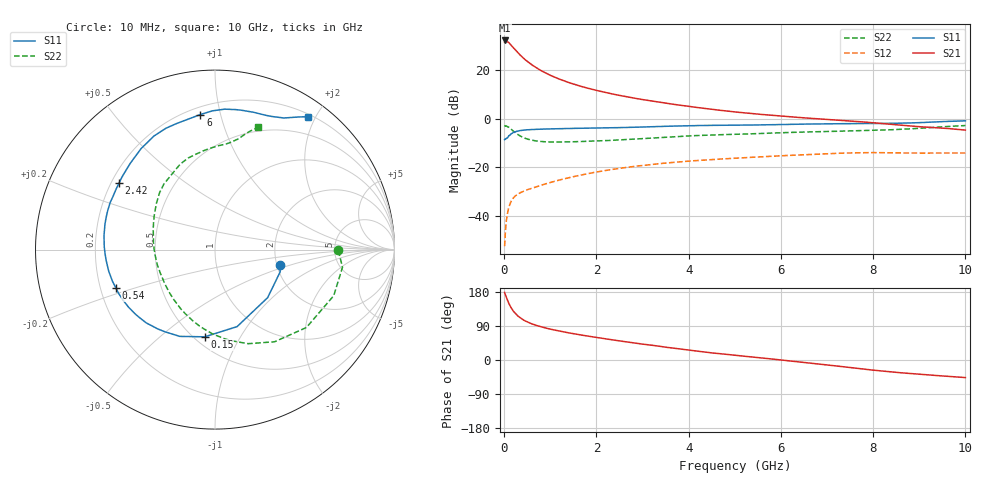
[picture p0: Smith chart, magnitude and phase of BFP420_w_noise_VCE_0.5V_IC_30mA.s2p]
! Infineon Technologies  Discrete & RF Semiconductors
! BFP420
! VCE =  0.5 V,  IC =  30 mA
! Common Emitter S-Parameters:  Jan 2016
# GHz  S  MA  R  50
!  f  S11  S21  S12  S22
! GHz  MAG  ANG  MAG  ANG  MAG  ANG  MAG  ANG
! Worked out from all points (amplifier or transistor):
!   233 points, 10 MHz to 10 GHz, reference 50 ohm
!   highest |S21| = 32.1 dB at 20 MHz (marker M1)
!   |S21| within 3 dB of that: start of sweep to 201.3 MHz
!   unconditionally stable (mu >= 1): start of sweep to 30.67 MHz; 1.082 GHz to end of sweep
!   at 200 MHz: K = 0.42, MSG = 30.9 dB, |S12| = -32.6 dB
!   at 1.74 GHz: K = 1.14, MAG = 15.6 dB, |S12| = -22.9 dB
!   at 10 GHz: K = 1.05, MAG = 3.4 dB, |S12| = -14.1 dB
!   lowest NFmin = 1.51 dB at 900 MHz
!   S11 on the Smith chart (normalised r, x): 10 MHz: 2.07, -0.41; 150 MHz: 0.56, -0.72; 540 MHz: 0.26, -0.18; 2.42 GHz: 0.23, +0.30; 6 GHz: 0.25, +0.87; 10 GHz: 0.24, +1.89
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0.01  0.3704 -13.2  37.24 178.2  0.0024 96.1  0.6873 -0.4
0.02  0.3838 -18.9  40.38 174.1  0.0036 87.8  0.7171 -7.9
0.05  0.3972 -42.4  39.49 164.2  0.0083 79.1  0.7096 -21.2
0.1  0.4463 -74.0  36.6 149.6  0.015 68.0  0.6693 -40.4
0.15  0.4893 -96.7  32.36 137.8  0.0199 60.4  0.6115 -57.1
0.2  0.5218 -112.1  28.69 128.8  0.0235 55.0  0.5558 -70.6
0.22  0.5274 -116.9  27.27 126.1  0.0246 53.5  0.5345 -74.9
0.26  0.545 -125.8  24.69 120.5  0.0266 50.9  0.5 -83.8
0.3  0.5599 -133.2  22.41 115.7  0.0283 49.0  0.4703 -91.6
0.4  0.5787 -146.3  18.14 106.9  0.0316 46.6  0.416 -107.2
0.54  0.5921 -158.6  14.11 98.6  0.0357 45.9  0.3724 -123.4
0.7  0.6041 -168.4  11.03 91.2  0.0401 46.3  0.348 -137.6
1  0.617 179.0  7.778 81.4  0.0488 47.4  0.3322 -155.7
1.3  0.6254 170.1  5.956 73.8  0.058 47.6  0.3322 -168.5
1.68  0.6353 160.8  4.568 65.7  0.07 46.5  0.3394 179.6
2.42  0.651 145.3  3.107 51.9  0.0928 41.3  0.3624 161.8
3.4  0.6912 127.9  2.148 35.7  0.1197 32.2  0.4099 143.3
5.1  0.7354 105.8  1.345 11.3  0.1557 15.8  0.479 121.4
6  0.7568 96.2  1.132 0.1  0.1726 7.7  0.5144 112.0
6.8  0.7792 88.0  0.993 -10.4  0.1867 -0.5  0.5385 102.8
8.4  0.8001 69.2  0.762 -31.5  0.1984 -18.9  0.5918 84.0
10  0.9019 55.1  0.582 -46.4  0.197 -30.4  0.7215 70.6
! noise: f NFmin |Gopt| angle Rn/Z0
0.9  1.51  0.26  -155  0.13
1.8  1.78  0.33  -142  0.14
2.4  1.96  0.3  -136  0.18
3  1.98  0.38  -127  0.2
4  2.11  0.47  -111  0.31
5  2.57  0.53  -94  0.51
6  3  0.57  -82  0.74
